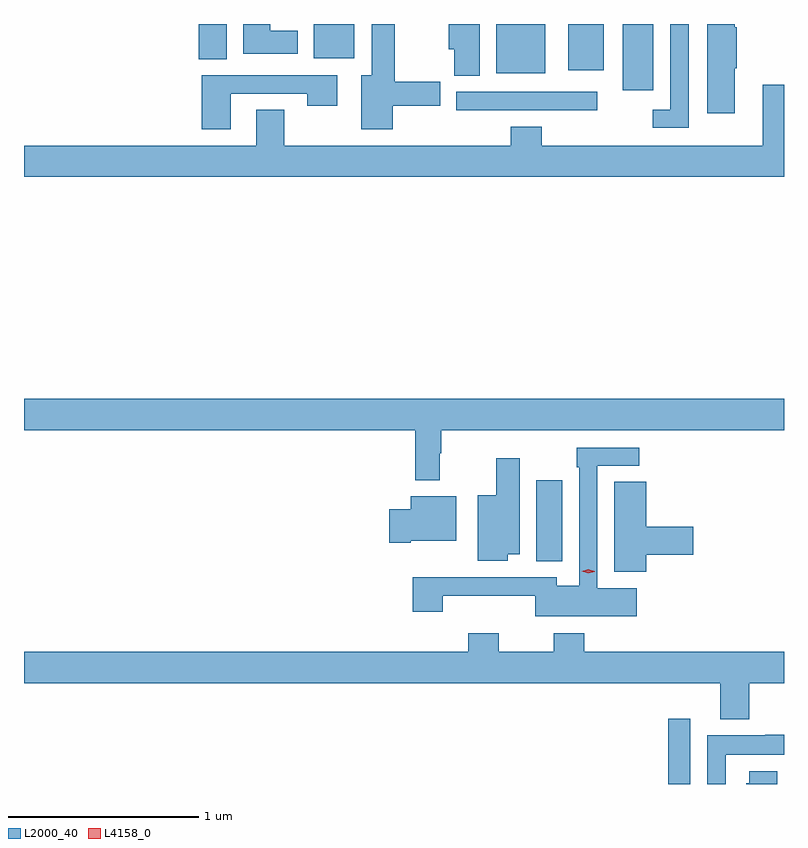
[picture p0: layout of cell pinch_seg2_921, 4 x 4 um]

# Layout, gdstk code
import gdstk
lib = gdstk.Library(unit=1e-6, precision=1e-09)
def R(c, l, rs):  # rectangles x0, y0, x1, y1
    for r in rs: c.add(gdstk.rectangle(r[:2], r[2:], *l))
def P(c, l, *ps):  # polygons
    for p in ps: c.add(gdstk.Polygon(p, *l))
L2000_40 = (2000, 40)
L4158_0 = (4158, 0)

pinch_seg2_921 = lib.new_cell('pinch_seg2_921')
R(pinch_seg2_921, L2000_40, [(256.621,651.101,256.737,651.445), (255.926,652.273,256.063,652.699), (255.505,654.648,256.246,654.744), (256.382,654.753,256.543,655.101), (255.716,654.842,255.973,655.101), (256.094,654.857,256.282,655.101), (254.15,654.916,254.296,655.101), (254.756,654.92,254.968,655.101)])
P(pinch_seg2_921, L2000_40, [(255.628,655.101),(255.466,655.101),(255.466,654.969),(255.494,654.969),(255.494,654.829),(255.628,654.829)],
  [(254.671,655.066),(254.527,655.066),(254.527,655.101),(254.384,655.101),(254.384,654.944),(254.671,654.944)],
  [(255.172,654.671),(255.42,654.671),(255.42,654.797),(255.18,654.797),(255.18,655.101),(255.059,655.101),(255.059,654.832),(255.005,654.832),(255.005,654.546),(255.172,654.546)],
  [(256.728,655.101),(256.632,655.101),(256.632,654.651),(256.539,654.651),(256.539,654.555),(256.728,654.555)],
  [(256.972,654.868),(256.98,654.868),(256.98,655.085),(256.972,655.085),(256.972,655.101),(256.826,655.101),(256.826,654.63),(256.972,654.63)],
  [(254.317,654.735),(254.722,654.735),(254.722,654.672),(254.878,654.672),(254.878,654.831),(254.165,654.831),(254.165,654.546),(254.317,654.546)],
  [(257.23,654.781),(257.117,654.781),(257.117,654.46),(255.956,654.46),(255.956,654.559),(255.791,654.559),(255.791,654.46),(254.601,654.46),(254.601,654.65),(254.453,654.65),(254.453,654.46),(253.23,654.46),(253.23,654.296),(257.23,654.296)],
  [(255.418,652.841),(255.425,652.841),(255.425,652.964),(257.23,652.964),(257.23,653.128),(253.23,653.128),(253.23,652.964),(255.289,652.964),(255.289,652.701),(255.418,652.701)],
  [(256.456,652.132),(256.248,652.132),(256.248,652.776),(256.468,652.776),(256.468,652.872),(256.14,652.872),(256.14,652.769),(256.152,652.769),(256.152,652.144),(256.033,652.144),(256.033,652.188),(255.521,652.188),(255.521,652.19),(255.275,652.19),(255.275,652.008),(255.435,652.008),(255.435,652.091),(255.92,652.091),(255.92,651.983),(256.456,651.983)],
  [(255.775,652.31),(255.838,652.31),(255.838,652.816),(255.716,652.816),(255.716,652.621),(255.617,652.621),(255.617,652.277),(255.775,652.277)],
  [(256.504,652.307),(256.753,652.307),(256.753,652.454),(256.504,652.454),(256.504,652.691),(256.337,652.691),(256.337,652.217),(256.504,652.217)],
  [(255.265,652.382),(255.505,652.382),(255.505,652.615),(255.266,652.615),(255.266,652.548),(255.153,652.548),(255.153,652.37),(255.265,652.37)],
  [(257.048,651.632),(257.23,651.632),(257.23,651.796),(256.178,651.796),(256.178,651.895),(256.017,651.895),(256.017,651.796),(255.729,651.796),(255.729,651.895),(255.569,651.895),(255.569,651.796),(253.23,651.796),(253.23,651.632),(256.895,651.632),(256.895,651.443),(257.048,651.443)],
  [(256.923,651.254),(257.23,651.254),(257.23,651.361),(257.131,651.361),(257.131,651.358),(256.827,651.358),(256.827,651.101),(256.923,651.101)],
  [(257.194,651.169),(257.048,651.169),(257.048,651.105),(257.03,651.105),(257.03,651.101),(257.194,651.101)])
P(pinch_seg2_921, L4158_0, [(256.199,652.211),(256.165,652.222),(256.165,652.222),(256.165,652.222),(256.2,652.231),(256.234,652.22),(256.234,652.22),(256.234,652.219)])

lib.write_gds('pinch_seg2_921.gds')
